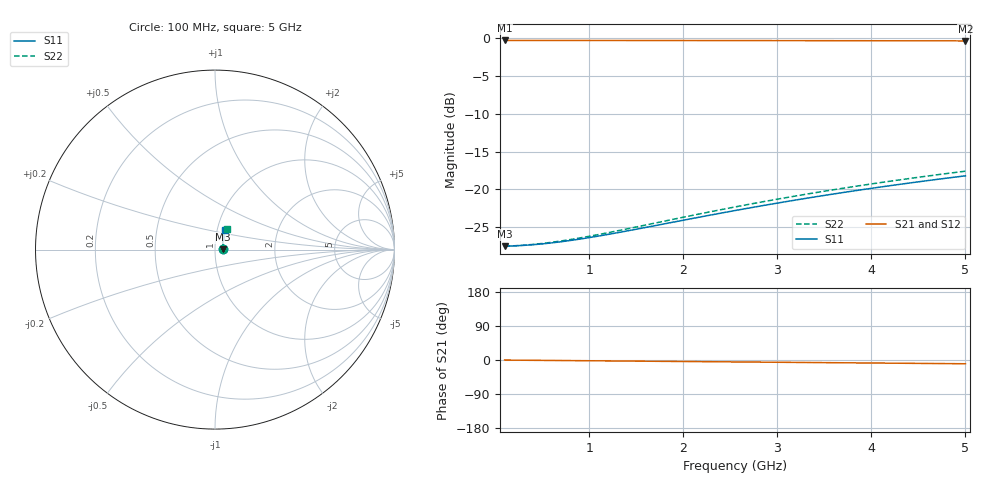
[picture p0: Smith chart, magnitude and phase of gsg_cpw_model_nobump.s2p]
# HZ S RI R 50
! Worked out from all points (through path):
!   50 points, 100 MHz to 5 GHz, reference 50 ohm
!   highest |S21| = -0.38 dB at 100 MHz (marker M1); lowest = -0.4 dB at 5 GHz (marker M2)
!   group delay of S21, straight-line fit = 5.51 ps
!   lowest |S11| = -27.5 dB at 100 MHz (marker M3), VSWR 1.09, Z = 54.4 + j0.24 ohm
!   |S11| at or under -10 dB: start of sweep to end of sweep
!   |S22| runs from -27.5 to -17.6 dB; largest |S21 - S12| = 0
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1e8  0.0423 0.0022  0.9574 -0.00335  0.9574 -0.00335  0.0423 0.00229
2e8  0.0423 0.00445  0.9574 -0.00666  0.9574 -0.00666  0.0423 0.00463
3e8  0.0423 0.00669  0.9574 -0.00997  0.9574 -0.00997  0.0424 0.00696
4e8  0.0424 0.00893  0.9573 -0.0133  0.9573 -0.0133  0.0425 0.00928
5e8  0.0424 0.0112  0.9572 -0.0166  0.9572 -0.0166  0.0426 0.0116
6e8  0.0424 0.0134  0.9571 -0.0199  0.9571 -0.0199  0.0427 0.0139
7e8  0.0425 0.0156  0.957 -0.0232  0.957 -0.0232  0.0428 0.0162
8e8  0.0426 0.0179  0.9569 -0.0266  0.9569 -0.0266  0.043 0.0186
1e9  0.0427 0.0223  0.9566 -0.0332  0.9566 -0.0332  0.0434 0.0232
1.1e9  0.0428 0.0246  0.9564 -0.0365  0.9564 -0.0365  0.0436 0.0255
1.3e9  0.0431 0.029  0.956 -0.0431  0.956 -0.0431  0.0442 0.0301
1.5e9  0.0433 0.0335  0.9556 -0.0497  0.9556 -0.0497  0.0448 0.0347
1.8e9  0.0438 0.0402  0.9548 -0.0597  0.9548 -0.0597  0.0458 0.0416
2.2e9  0.0445 0.0491  0.9534 -0.0728  0.9534 -0.0728  0.0476 0.0508
2.6e9  0.0454 0.058  0.9518 -0.086  0.9518 -0.086  0.0497 0.0598
2.8e9  0.0459 0.0624  0.9509 -0.0926  0.9509 -0.0926  0.0509 0.0643
3e9  0.0464 0.0668  0.95 -0.0991  0.95 -0.0991  0.0521 0.0688
3.4e9  0.0475 0.0757  0.9479 -0.1122  0.9479 -0.1122  0.0549 0.0778
3.8e9  0.0489 0.0845  0.9455 -0.1252  0.9455 -0.1252  0.058 0.0866
4.2e9  0.0503 0.0933  0.9428 -0.1381  0.9428 -0.1381  0.0614 0.0953
4.6e9  0.0519 0.102  0.94 -0.151  0.94 -0.151  0.0652 0.1039
5e9  0.0536 0.1107  0.9368 -0.1638  0.9368 -0.1638  0.0693 0.1123
